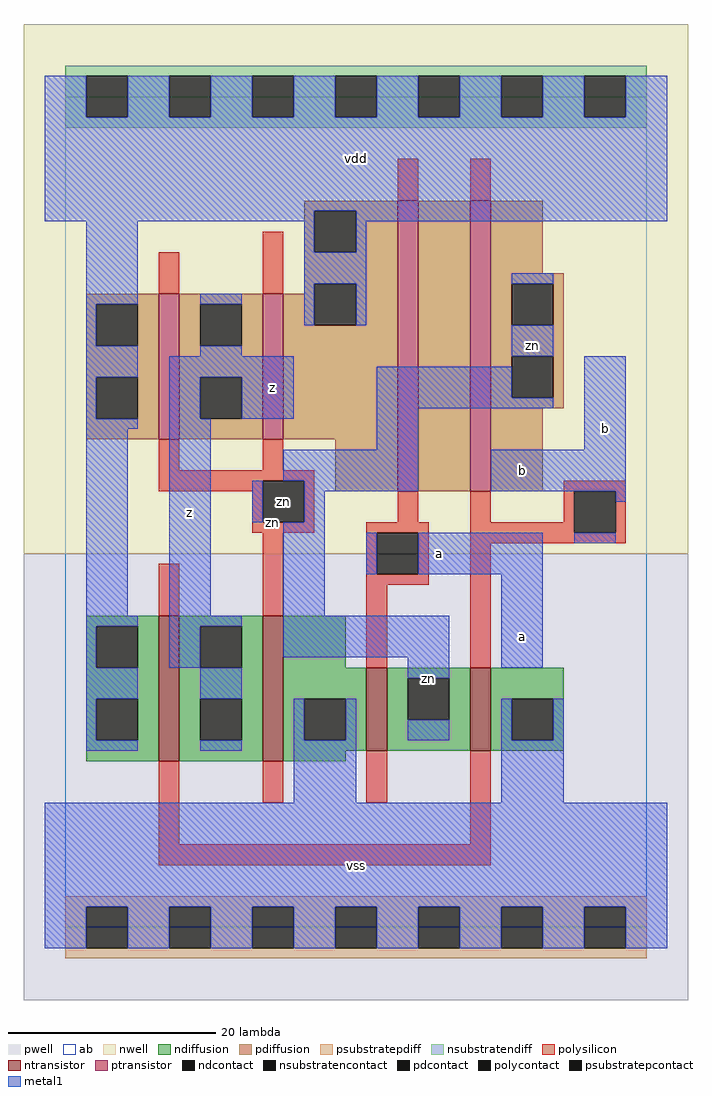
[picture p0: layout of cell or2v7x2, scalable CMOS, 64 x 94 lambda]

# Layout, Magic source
magic
tech scmos
<< ab >>
rect 0 0 56 80
<< pwell >>
rect -4 -7 60 36
<< nwell >>
rect -4 36 60 87
<< polysilicon >>
rect 32 70 34 74
rect 39 70 41 74
rect 9 61 11 65
rect 19 61 21 67
rect 9 44 11 47
rect 19 44 21 47
rect 9 43 24 44
rect 9 42 19 43
rect 18 39 19 42
rect 23 39 24 43
rect 48 42 54 43
rect 32 39 34 42
rect 39 39 41 42
rect 48 39 49 42
rect 18 38 24 39
rect 29 38 35 39
rect 9 30 11 35
rect 19 30 21 38
rect 29 34 30 38
rect 34 34 35 38
rect 29 33 35 34
rect 39 38 49 39
rect 53 38 54 42
rect 39 37 54 38
rect 29 25 31 33
rect 39 25 41 37
rect 9 8 11 16
rect 19 12 21 16
rect 29 12 31 17
rect 39 8 41 17
rect 9 6 41 8
<< ndiffusion >>
rect 2 29 9 30
rect 2 25 3 29
rect 7 25 9 29
rect 2 22 9 25
rect 2 18 3 22
rect 7 18 9 22
rect 2 16 9 18
rect 11 29 19 30
rect 11 25 13 29
rect 17 25 19 29
rect 11 22 19 25
rect 11 18 13 22
rect 17 18 19 22
rect 11 16 19 18
rect 21 25 27 30
rect 21 22 29 25
rect 21 18 23 22
rect 27 18 29 22
rect 21 17 29 18
rect 31 24 39 25
rect 31 20 33 24
rect 37 20 39 24
rect 31 17 39 20
rect 41 22 48 25
rect 41 18 43 22
rect 47 18 48 22
rect 41 17 48 18
rect 21 16 27 17
<< pdiffusion >>
rect 23 69 32 70
rect 23 65 24 69
rect 28 65 32 69
rect 23 62 32 65
rect 23 61 24 62
rect 2 60 9 61
rect 2 56 3 60
rect 7 56 9 60
rect 2 53 9 56
rect 2 49 3 53
rect 7 49 9 53
rect 2 47 9 49
rect 11 60 19 61
rect 11 56 13 60
rect 17 56 19 60
rect 11 53 19 56
rect 11 49 13 53
rect 17 49 19 53
rect 11 47 19 49
rect 21 58 24 61
rect 28 58 32 62
rect 21 47 32 58
rect 26 42 32 47
rect 34 42 39 70
rect 41 63 46 70
rect 41 62 48 63
rect 41 58 43 62
rect 47 58 48 62
rect 41 55 48 58
rect 41 51 43 55
rect 47 51 48 55
rect 41 50 48 51
rect 41 42 46 50
<< metal1 >>
rect -2 78 2 82
rect 6 78 10 82
rect 14 78 18 82
rect 22 78 26 82
rect 30 78 34 82
rect 38 78 42 82
rect 46 78 50 82
rect 54 78 58 82
rect -2 69 58 78
rect -2 68 24 69
rect 2 60 7 68
rect 23 65 24 68
rect 28 68 58 69
rect 28 65 29 68
rect 23 62 29 65
rect 2 56 3 60
rect 2 53 7 56
rect 13 60 17 61
rect 23 58 24 62
rect 28 58 29 62
rect 43 62 47 63
rect 13 55 17 56
rect 43 55 47 58
rect 2 49 3 53
rect 2 48 7 49
rect 10 53 22 55
rect 10 49 13 53
rect 17 49 22 53
rect 30 51 43 54
rect 30 50 47 51
rect 2 30 6 48
rect 10 30 14 49
rect 30 46 34 50
rect 50 46 54 55
rect 21 43 34 46
rect 18 39 19 43
rect 23 42 34 43
rect 41 42 54 46
rect 23 39 25 42
rect 21 30 25 39
rect 53 41 54 42
rect 29 34 30 38
rect 34 34 46 38
rect 49 37 53 38
rect 2 29 7 30
rect 2 25 3 29
rect 10 29 17 30
rect 10 25 13 29
rect 21 26 37 30
rect 2 22 7 25
rect 2 18 3 22
rect 2 17 7 18
rect 13 22 17 25
rect 33 24 37 26
rect 42 25 46 34
rect 13 17 17 18
rect 22 18 23 22
rect 27 18 28 22
rect 33 18 37 20
rect 42 18 43 22
rect 47 18 48 22
rect 22 12 28 18
rect 42 12 48 18
rect -2 2 58 12
rect -2 -2 2 2
rect 6 -2 10 2
rect 14 -2 18 2
rect 22 -2 26 2
rect 30 -2 34 2
rect 38 -2 42 2
rect 46 -2 50 2
rect 54 -2 58 2
<< ntransistor >>
rect 9 16 11 30
rect 19 16 21 30
rect 29 17 31 25
rect 39 17 41 25
<< ptransistor >>
rect 9 47 11 61
rect 19 47 21 61
rect 32 42 34 70
rect 39 42 41 70
<< polycontact >>
rect 19 39 23 43
rect 30 34 34 38
rect 49 38 53 42
<< ndcontact >>
rect 3 25 7 29
rect 3 18 7 22
rect 13 25 17 29
rect 13 18 17 22
rect 23 18 27 22
rect 33 20 37 24
rect 43 18 47 22
<< pdcontact >>
rect 24 65 28 69
rect 3 56 7 60
rect 3 49 7 53
rect 13 56 17 60
rect 13 49 17 53
rect 24 58 28 62
rect 43 58 47 62
rect 43 51 47 55
<< psubstratepcontact >>
rect 2 -2 6 2
rect 10 -2 14 2
rect 18 -2 22 2
rect 26 -2 30 2
rect 34 -2 38 2
rect 42 -2 46 2
rect 50 -2 54 2
<< nsubstratencontact >>
rect 2 78 6 82
rect 10 78 14 82
rect 18 78 22 82
rect 26 78 30 82
rect 34 78 38 82
rect 42 78 46 82
rect 50 78 54 82
<< psubstratepdiff >>
rect 0 2 56 3
rect 0 -2 2 2
rect 6 -2 10 2
rect 14 -2 18 2
rect 22 -2 26 2
rect 30 -2 34 2
rect 38 -2 42 2
rect 46 -2 50 2
rect 54 -2 56 2
rect 0 -3 56 -2
<< nsubstratendiff >>
rect 0 82 56 83
rect 0 78 2 82
rect 6 78 10 82
rect 14 78 18 82
rect 22 78 26 82
rect 30 78 34 82
rect 38 78 42 82
rect 46 78 50 82
rect 54 78 56 82
rect 0 77 56 78
<< labels >>
rlabel polysilicon 20 39 20 39 6 zn
rlabel polycontact 21 41 21 41 6 zn
rlabel metal1 12 40 12 40 6 z
rlabel metal1 20 52 20 52 6 z
rlabel metal1 28 6 28 6 6 vss
rlabel metal1 35 24 35 24 6 zn
rlabel metal1 36 36 36 36 6 a
rlabel metal1 28 74 28 74 6 vdd
rlabel metal1 44 28 44 28 6 a
rlabel metal1 44 44 44 44 6 b
rlabel metal1 52 48 52 48 6 b
rlabel metal1 45 56 45 56 6 zn
<< end >>
